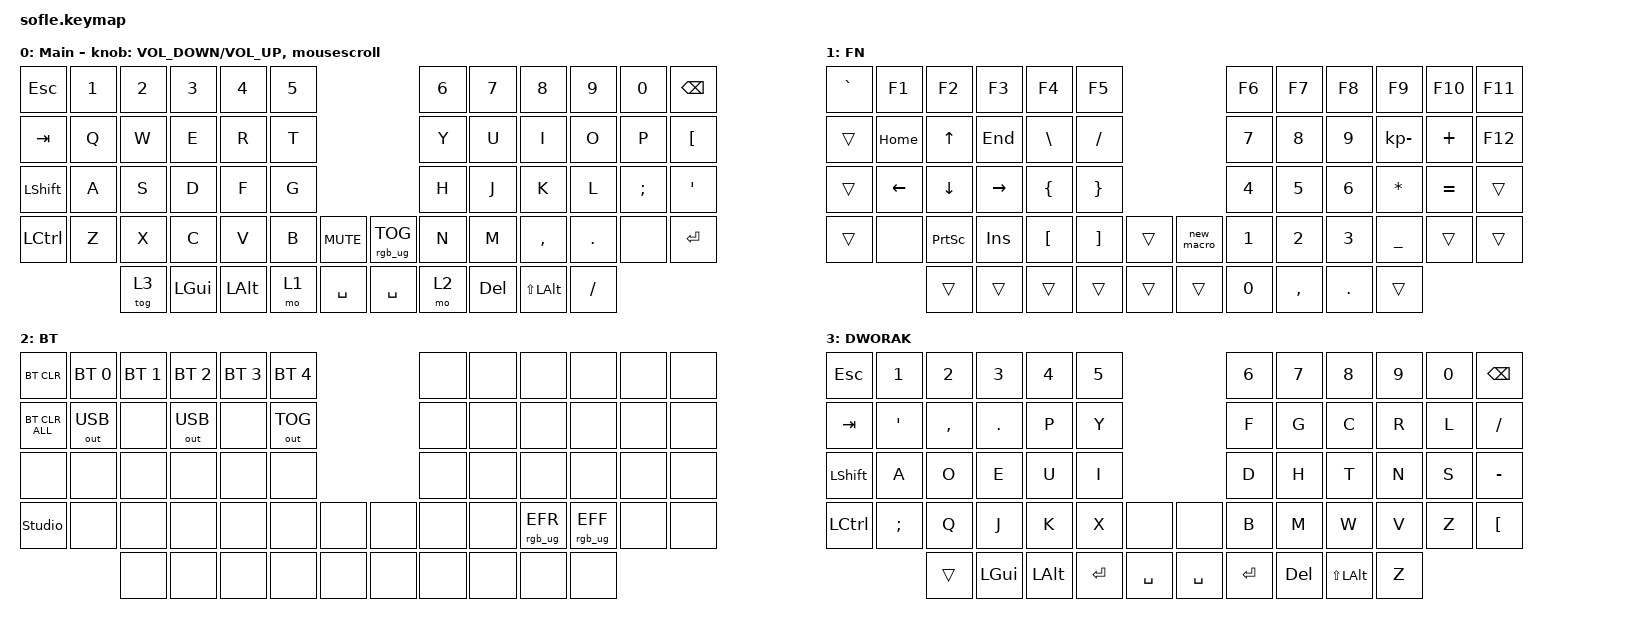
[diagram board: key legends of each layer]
/*
 * Copyright (c) 2020 The ZMK Contributors
 *
 * SPDX-License-Identifier: MIT
 */

#define ZMK_POINTING_DEFAULT_MOVE_VAL 100
#define ZMK_POINTING_DEFAULT_SCRL_VAL 300

#include <behaviors.dtsi>
#include <dt-bindings/zmk/bt.h>
#include <dt-bindings/zmk/keys.h>
#include <dt-bindings/zmk/outputs.h>
#include <dt-bindings/zmk/pointing.h>
#include <dt-bindings/zmk/rgb.h>

#define BASE 0
#define LOWER 1
#define RAISE 2
#define ADJUST 3

/ {
    // Activate ADJUST layer by pressing raise and lower

    conditional_layers { compatible = "zmk,conditional-layers"; };

    behaviors {
        mousescroll: mousescroll {
            compatible = "zmk,behavior-sensor-rotate";
            #sensor-binding-cells = <0>;
            bindings = <&msc SCRL_UP>, <&msc SCRL_DOWN>;

            tap-ms = <20>;
        };
    };

    macros {
        new_macro: new_macro {
            compatible = "zmk,behavior-macro";
            #binding-cells = <0>;
            bindings = <&macro_tap>, <&mmv MOVE_RIGHT>;

            label = "NEW_MACRO";
            wait-ms = <100>;
            tap-ms = <1000>;
        };
    };

    keymap {
        compatible = "zmk,keymap";

        MAIN {
            label = "Main";

            // ------------------------------------------------------------------------------------------------------------
            // |   `   |  1  |  2  |  3   |  4   |  5   |                   |  6   |  7    |  8    |  9   |   0   |       |
            // |  ESC  |  Q  |  W  |  E   |  R   |  T   |                   |  Y   |  U    |  I    |  O   |   P   | BKSPC |
            // |  TAB  |  A  |  S  |  D   |  F   |  G   |                   |  H   |  J    |  K    |  L   |   ;   |   '   |
            // | SHIFT |  Z  |  X  |  C   |  V   |  B   |  MUTE  |  |       |  N   |  M    |  ,    |  .   |   /   | SHIFT |
            //               | GUI | ALT  | CTRL | LOWER|  ENTER |  | SPACE | RAISE| CTRL  | ALT   | GUI  |

            bindings = <
&kp ESCAPE  &kp N1  &kp N2  &kp N3        &kp N4    &kp N5                                 &kp N6  &kp N7   &kp N8            &kp N9    &kp N0    &kp BSPC
&kp TAB     &kp Q   &kp W   &kp E         &kp R     &kp T                                  &kp Y   &kp U    &kp I             &kp O     &kp P     &kp LBKT
&kp LSHFT   &kp A   &kp S   &kp D         &kp F     &kp G                                  &kp H   &kp J    &kp K             &kp L     &kp SEMI  &kp SQT
&kp LCTRL   &kp Z   &kp X   &kp C         &kp V     &kp B   &kp C_MUTE    &rgb_ug RGB_TOG  &kp N   &kp M    &kp COMMA         &kp DOT   &none     &kp RET
                    &tog 3  &kp LEFT_GUI  &kp LALT  &mo 1   &kp SPACE     &kp SPACE        &mo 2   &kp DEL  &kp LS(LEFT_ALT)  &kp FSLH
            >;

            sensor-bindings =
                <&inc_dec_kp C_VOLUME_DOWN C_VOLUME_UP>,
                <&mousescroll>;
        };

        layer_1 {
            bindings = <
&kp GRAVE  &kp F1    &kp F2           &kp F3      &kp F4            &kp F5                                   &kp F6  &kp F7     &kp F8   &kp F9           &kp F10    &kp F11
&trans     &kp HOME  &kp UP           &kp END     &kp BACKSLASH     &kp SLASH                                &kp N7  &kp N8     &kp N9   &kp KP_SUBTRACT  &kp PLUS   &kp F12
&trans     &kp LEFT  &kp DOWN         &kp RIGHT   &kp LEFT_BRACE    &kp RIGHT_BRACE                          &kp N4  &kp N5     &kp N6   &kp STAR         &kp EQUAL  &trans
&trans     &none     &kp PRINTSCREEN  &kp INSERT  &kp LEFT_BRACKET  &kp RIGHT_BRACKET  &trans    &new_macro  &kp N1  &kp N2     &kp N3   &kp UNDER        &trans     &trans
                     &trans           &trans      &trans            &trans             &trans    &trans      &kp N0  &kp COMMA  &kp DOT  &trans
            >;

            label = "FN";
        };

        layer_2 {
            bindings = <
&bt BT_CLR      &bt BT_SEL 0  &bt BT_SEL 1  &bt BT_SEL 2  &bt BT_SEL 3  &bt BT_SEL 4                  &none  &none  &none            &none            &none  &none
&bt BT_CLR_ALL  &out OUT_USB  &none         &out OUT_USB  &none         &out OUT_TOG                  &none  &none  &none            &none            &none  &none
&none           &none         &none         &none         &none         &none                         &none  &none  &none            &none            &none  &none
&studio_unlock  &none         &none         &none         &none         &none         &none    &none  &none  &none  &rgb_ug RGB_EFR  &rgb_ug RGB_EFF  &none  &none
                              &none         &none         &none         &none         &none    &none  &none  &none  &none            &none
            >;

            label = "BT";
        };

        layer_3 {
            bindings = <
&kp ESC    &kp N1    &kp N2     &kp N3    &kp N4    &kp N5                             &kp N6     &kp N7   &kp N8            &kp N9  &kp N0  &kp BSPC
&kp TAB    &kp APOS  &kp COMMA  &kp DOT   &kp P     &kp Y                              &kp F      &kp G    &kp C             &kp R   &kp L   &kp FSLH
&kp LSHFT  &kp A     &kp O      &kp E     &kp U     &kp I                              &kp D      &kp H    &kp T             &kp N   &kp S   &kp MINUS
&kp LCTRL  &kp SEMI  &kp Q      &kp J     &kp K     &kp X      &none        &none      &kp B      &kp M    &kp W             &kp V   &kp Z   &kp LBKT
                     &trans     &kp LGUI  &kp LALT  &kp ENTER  &kp SPACE    &kp SPACE  &kp ENTER  &kp DEL  &kp LS(LEFT_ALT)  &kp Z
            >;

            label = "DWORAK";
        };
    };
};
